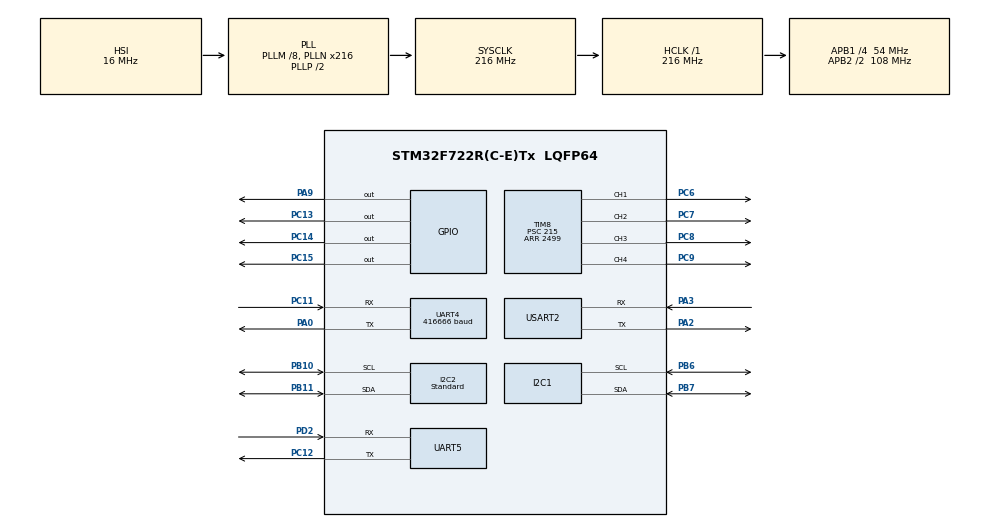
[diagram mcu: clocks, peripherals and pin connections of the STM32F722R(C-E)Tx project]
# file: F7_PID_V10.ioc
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CORTEX_M7.default_mode_Activation=1
I2C1.Timing=0x20404768
I2C2.I2C_Speed_Mode=I2C_Standard
I2C2.Timing=0x20404768
Mcu.Family=STM32F7
Mcu.Name=STM32F722R(C-E)Tx
Mcu.Package=LQFP64
NVIC.I2C2_ER_IRQn=true\:0\:0\:false\:false\:true\:true\:true\:true
NVIC.I2C2_EV_IRQn=true\:0\:0\:false\:false\:true\:true\:true\:true
NVIC.PriorityGroup=NVIC_PRIORITYGROUP_4
NVIC.TIM3_IRQn=true\:3\:0\:true\:false\:true\:true\:true\:true
NVIC.UART4_IRQn=true\:0\:0\:false\:false\:true\:true\:true\:true
NVIC.UART5_IRQn=true\:0\:0\:false\:false\:true\:true\:true\:true
NVIC.USART2_IRQn=true\:0\:0\:false\:false\:true\:true\:true\:true
PA0-WKUP.Mode=Asynchronous
PA0-WKUP.Signal=UART4_TX
PA2.Mode=Asynchronous
PA2.Signal=USART2_TX
PA3.Mode=Asynchronous
PA3.Signal=USART2_RX
PA9.Signal=GPIO_Output
PB10.Mode=I2C
PB10.Signal=I2C2_SCL
PB11.Mode=I2C
PB11.Signal=I2C2_SDA
PB6.Mode=I2C
PB6.Signal=I2C1_SCL
PB7.Mode=I2C
PB7.Signal=I2C1_SDA
PC11.Mode=Asynchronous
PC11.Signal=UART4_RX
PC12.Mode=Asynchronous
PC12.Signal=UART5_TX
PC13.Signal=GPIO_Output
PC14-OSC32_IN.Signal=GPIO_Output
PC15-OSC32_OUT.Signal=GPIO_Output
PC6.Signal=S_TIM8_CH1
PC7.Signal=S_TIM8_CH2
PC8.Signal=S_TIM8_CH3
PC9.Signal=S_TIM8_CH4
PD2.Mode=Asynchronous
PD2.Signal=UART5_RX
ProjectManager.HeapSize=0x200
ProjectManager.StackSize=0x400
ProjectManager.TargetToolchain=STM32CubeIDE
RCC.AHBFreq_Value=216000000
RCC.APB1CLKDivider=RCC_HCLK_DIV4
RCC.APB1Freq_Value=54000000
RCC.APB1TimFreq_Value=108000000
RCC.APB2CLKDivider=RCC_HCLK_DIV2
RCC.APB2Freq_Value=108000000
RCC.APB2TimFreq_Value=216000000
RCC.CortexFreq_Value=216000000
RCC.HCLKFreq_Value=216000000
RCC.HSE_VALUE=25000000
RCC.HSI_VALUE=16000000
RCC.LSE_VALUE=32768
RCC.PLLM=8
RCC.PLLN=216
RCC.SYSCLKFreq_VALUE=216000000
RCC.SYSCLKSource=RCC_SYSCLKSOURCE_PLLCLK
RCC.USBFreq_Value=216000000
RCC.VCOOutputFreq_Value=432000000
SH.S_TIM8_CH1.0=TIM8_CH1,PWM Generation1 CH1
SH.S_TIM8_CH2.0=TIM8_CH2,PWM Generation2 CH2
SH.S_TIM8_CH3.0=TIM8_CH3,PWM Generation3 CH3
SH.S_TIM8_CH4.0=TIM8_CH4,PWM Generation4 CH4
TIM3.Period=3999
TIM3.Prescaler=107
TIM8.Channel-PWM\ Generation1\ CH1=TIM_CHANNEL_1
TIM8.Channel-PWM\ Generation2\ CH2=TIM_CHANNEL_2
TIM8.Channel-PWM\ Generation3\ CH3=TIM_CHANNEL_3
TIM8.Channel-PWM\ Generation4\ CH4=TIM_CHANNEL_4
TIM8.Period=2499
TIM8.Prescaler=215
UART4.BaudRate=416666
USART2.VirtualMode-Asynchronous=VM_ASYNC
VP_TIM3_VS_ClockSourceINT.Mode=Internal
VP_TIM8_VS_ClockSourceINT.Mode=Internal
board=custom

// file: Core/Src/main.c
/* USER CODE BEGIN Header */
/**
  ******************************************************************************
  * @file           : main.c
  * @brief          : Main program body (Clean - No Printf - 250Hz Loop)
  ******************************************************************************
  */
/* USER CODE END Header */
#include "main.h"

/* USER CODE BEGIN Includes */
#include "stm32f7xx_hal.h"
#include <stdint.h>
#include <stdbool.h>
#include <stdlib.h>
#include <math.h>
#include "pwm.h"
#include "mpu.h"
#include "elrs.h"
#include "mtf.h"
#include "boussole.h"
#include "barometre.h"
#include "gps.h"
/* USER CODE END Includes */

/* USER CODE BEGIN PD */
#define PID_PITCH_KP  1.3f // 1.3
#define PID_PITCH_KI  0.025f // 0.04
#define PID_PITCH_KD  18.0f // 18

#define PID_ROLL_KP   1.3f
#define PID_ROLL_KI   0.025f
#define PID_ROLL_KD   18.0f

#define PID_YAW_KP    4.0f
#define PID_YAW_KI    0.02f
#define PID_YAW_KD    0.0f

int pid_max_roll = 400;                    //Maximum output of the PID-controller (+/-).
int pid_max_pitch = 400;                    //Maximum output of the PID-controller (+/-).
int pid_max_yaw = 400;                    //Maximum output of the PID-controller (+/-).

/* USER CODE END PD */

I2C_HandleTypeDef hi2c1;
I2C_HandleTypeDef hi2c2;

TIM_HandleTypeDef htim3;
TIM_HandleTypeDef htim8;

UART_HandleTypeDef huart4;
UART_HandleTypeDef huart5;
UART_HandleTypeDef huart2;

/* USER CODE BEGIN PV */
float pid_error_temp = 0;
float pid_i_mem_roll, pid_roll_setpoint, gyro_roll_input, pid_output_roll, pid_last_roll_d_error;
float pid_i_mem_pitch, pid_pitch_setpoint, gyro_pitch_input, pid_output_pitch, pid_last_pitch_d_error;
float pid_i_mem_yaw, pid_yaw_setpoint, gyro_yaw_input, pid_output_yaw, pid_last_yaw_d_error;

float pid_roll_setpoint = 0;
float pid_pitch_setpoint = 0;
float pid_yaw_setpoint = 0;

float roll_level_adjust = 0;
float pitch_level_adjust = 0;

uint16_t rc_throttle = 1000;
uint16_t esc_1, esc_2, esc_3, esc_4;

extern float filtered_gx;
extern float filtered_gy;
extern float filtered_gz;

extern uint8_t elrs_rx_byte;

extern int32_t acc_pitch_cal_value;
extern int32_t acc_roll_cal_value;

// PID altitude
float pid_altitude_setpoint = 0;
float pid_i_mem_altitude = 0;
float pid_last_altitude_d_error = 0;
float pid_output_altitude = 0;
float pid_error_altitude = 0;

float pid_p_gain_altitude = 0.2; // 0.2
float pid_i_gain_altitude = 0.0001; // 0.0001
float pid_d_gain_altitude = 5.0; // 5
int pid_max_altitude = 150; // Limite l'action sur les gaz

// Le point de stationnaire (Hover).
int hover_throttle;

bool alt_hold_active = false;
bool previous_alt_hold_state = false;

// Variables pour le séquenceur I2C
uint8_t sequencer_counter = 0;
uint8_t i2c_active_sensor = 0; // 1 = Boussole, 2 = Baromètre

//boussole qmc5883p
uint8_t qmc_raw_data[6];

//baro lps22hh
uint8_t baro_raw_data[5];

//gps m10
extern uint8_t gps_rx_byte;

// --- Variables PID GPS ---
float gps_p_gain = 1.0f; //2.7
float gps_d_gain = 5.0f; //6.5

int32_t l_lat_waypoint = 0;
int32_t l_lon_waypoint = 0;

int32_t gps_lat_error = 0;
int32_t gps_lon_error = 0;
int32_t gps_lat_error_previous = 0;
int32_t gps_lon_error_previous = 0;

float gps_pitch_adjust_north = 0.0f;
float gps_roll_adjust_north = 0.0f;
float gps_pitch_adjust = 0.0f;
float gps_roll_adjust = 0.0f;

bool gps_hold_active = false;
bool previous_gps_hold_state = false;

// isen : 50.634096, 3.048933
// palais rameau 50.634472, 3.049654
// 10m nord : 50.63497640045477, 3.0488501656479223
int32_t target_lat = 506342430;
int32_t target_lon = 30491792;

/* USER CODE END PV */

void SystemClock_Config(void);
static void MPU_Config(void);
static void MX_GPIO_Init(void);
static void MX_TIM3_Init(void);
static void MX_I2C1_Init(void);
static void MX_TIM8_Init(void);
static void MX_UART4_Init(void);
static void MX_UART5_Init(void);
static void MX_I2C2_Init(void);
static void MX_USART2_UART_Init(void);
/* USER CODE BEGIN PFP */
void Calculate_PID();
void Apply_Motor_Speed(uint16_t throttle);
/* USER CODE END PFP */

/* USER CODE BEGIN 0 */

void Calculate_PID() {
	pid_roll_setpoint = 0;

	if (rc_channels[3] > 1508)pid_roll_setpoint = rc_channels[3] - 1508;
	else if (rc_channels[3] < 1492)pid_roll_setpoint = rc_channels[3] - 1492;

	// Le GPS incline le drone en roll
	pid_roll_setpoint += gps_roll_adjust;

	pid_roll_setpoint -= roll_level_adjust;                                          //Subtract the angle correction from the standardized receiver roll input value.
	pid_roll_setpoint /= 3.0;                                                        //Divide the setpoint for the PID roll controller by 3 to get angles in degrees.

	pid_pitch_setpoint = 0;
	if (rc_channels[1] > 1508)pid_pitch_setpoint = rc_channels[1] - 1508;
	else if (rc_channels[1] < 1492)pid_pitch_setpoint = rc_channels[1] - 1492;

	//Le GPS incline le drone en pitch
	pid_pitch_setpoint -= gps_pitch_adjust;

	pid_pitch_setpoint -= pitch_level_adjust;                                        //Subtract the angle correction from the standardized receiver pitch input value.
	pid_pitch_setpoint /= 3.0;                                                       //Divide the setpoint for the PID pitch controller by 3 to get angles in degrees.

	pid_yaw_setpoint = 0;
	//We need a little dead band of 16us for better results.
	if (rc_channels[2] > 1050) { //Do not yaw when turning off the motors.
	if (rc_channels[0] > 1508)pid_yaw_setpoint = (rc_channels[0] - 1508) / 3.0;
	else if (rc_channels[0] < 1492)pid_yaw_setpoint = (rc_channels[0] - 1492) / 3.0;
	}

	//Roll calculations
	pid_error_temp = filtered_gx - pid_roll_setpoint;
	pid_i_mem_roll += PID_ROLL_KI * pid_error_temp;
	if (pid_i_mem_roll > pid_max_roll)pid_i_mem_roll = pid_max_roll;
	else if (pid_i_mem_roll < pid_max_roll * -1)pid_i_mem_roll = pid_max_roll * -1;

	pid_output_roll = PID_ROLL_KP * pid_error_temp + pid_i_mem_roll + PID_ROLL_KD * (pid_error_temp - pid_last_roll_d_error);
	if (pid_output_roll > pid_max_roll)pid_output_roll = pid_max_roll;
	else if (pid_output_roll < pid_max_roll * -1)pid_output_roll = pid_max_roll * -1;

	pid_last_roll_d_error = pid_error_temp;

	//Pitch calculations
	pid_error_temp = filtered_gy - pid_pitch_setpoint;
	pid_i_mem_pitch += PID_PITCH_KI * pid_error_temp;
	if (pid_i_mem_pitch > pid_max_pitch)pid_i_mem_pitch = pid_max_pitch;
	else if (pid_i_mem_pitch < pid_max_pitch * -1)pid_i_mem_pitch = pid_max_pitch * -1;

	pid_output_pitch = PID_PITCH_KP * pid_error_temp + pid_i_mem_pitch + PID_PITCH_KD * (pid_error_temp - pid_last_pitch_d_error);
	if (pid_output_pitch > pid_max_pitch)pid_output_pitch = pid_max_pitch;
	else if (pid_output_pitch < pid_max_pitch * -1)pid_output_pitch = pid_max_pitch * -1;

	pid_last_pitch_d_error = pid_error_temp;

	//Yaw calculations
	pid_error_temp = filtered_gz - pid_yaw_setpoint;
	pid_i_mem_yaw += PID_YAW_KI * pid_error_temp;
	if (pid_i_mem_yaw > pid_max_yaw)pid_i_mem_yaw = pid_max_yaw;
	else if (pid_i_mem_yaw < pid_max_yaw * -1)pid_i_mem_yaw = pid_max_yaw * -1;

	pid_output_yaw = PID_YAW_KP * pid_error_temp + pid_i_mem_yaw + PID_YAW_KD * (pid_error_temp - pid_last_yaw_d_error);
	if (pid_output_yaw > pid_max_yaw)pid_output_yaw = pid_max_yaw;
	else if (pid_output_yaw < pid_max_yaw * -1)pid_output_yaw = pid_max_yaw * -1;

	pid_last_yaw_d_error = pid_error_temp;

}

void Apply_Motor_Speed(uint16_t throttle) {

	esc_1 = throttle - pid_output_pitch - pid_output_roll + pid_output_yaw;
	esc_2 = throttle - pid_output_pitch + pid_output_roll - pid_output_yaw;
	esc_3 = throttle + pid_output_pitch + pid_output_roll + pid_output_yaw;
	esc_4 = throttle + pid_output_pitch - pid_output_roll - pid_output_yaw;

    if (esc_1 < 1000) esc_1 = 1000;
    if (esc_1 > 2000) esc_1 = 2000;

    if (esc_2 < 1000) esc_2 = 1000;
    if (esc_2 > 2000) esc_2 = 2000;

    if (esc_3 < 1000) esc_3 = 1000;
    if (esc_3 > 2000) esc_3 = 2000;

    if (esc_4 < 1000) esc_4 = 1000;
    if (esc_4 > 2000) esc_4 = 2000;

    ESC_Write(esc_1, esc_2, esc_3, esc_4);
}

/* USER CODE END 0 */

int main(void)
{

  /* MPU Configuration--------------------------------------------------------*/
  MPU_Config();

  /* MCU Configuration--------------------------------------------------------*/

  /* Reset of all peripherals, Initializes the Flash interface and the Systick. */
  HAL_Init();

  /* Configure the system clock */
  SystemClock_Config();

  /* Initialize all configured peripherals */
  MX_GPIO_Init();
  MX_TIM3_Init();
  MX_I2C1_Init();
  MX_TIM8_Init();
  MX_UART4_Init();
  MX_UART5_Init();
  MX_I2C2_Init();
  MX_USART2_UART_Init();
  /* USER CODE BEGIN 2 */
  HAL_Delay(200);
  MPU_Init();
  HAL_Delay(200);
  Gyro_Calibrate();
  Acc_Calibrate();
  HAL_Delay(200);
  MTF_Init();
  Compass_Init();
  Baro_Init();
  GPS_Init();

  // Le drone dérive vers l'Arrière-Droit.
  // On diminue les valeurs de calibration pour générer une fausse
  // inclinaison positive, forçant le drone à compenser vers l'Avant-Gauche.

  acc_pitch_cal_value -= 15; // Compense la dérive arrière
  acc_roll_cal_value  -= 25; // Compense la dérive droite

  HAL_TIM_Base_Start_IT(&htim3);
  ELRS_Init();
  HAL_Delay(2000);
  ESC_Init_And_Calibrate(); ////////////////

  HAL_GPIO_WritePin(GPIOC, GPIO_PIN_14, GPIO_PIN_SET);

  /* USER CODE END 2 */

  /* Infinite loop */
  while (1)
  {

  }
}

void SystemClock_Config(void)
{
  RCC_OscInitTypeDef RCC_OscInitStruct = {0};
  RCC_ClkInitTypeDef RCC_ClkInitStruct = {0};

  /** Configure the main internal regulator output voltage
  */
  __HAL_RCC_PWR_CLK_ENABLE();
  __HAL_PWR_VOLTAGESCALING_CONFIG(PWR_REGULATOR_VOLTAGE_SCALE1);

  /** Initializes the RCC Oscillators according to the specified parameters
  * in the RCC_OscInitTypeDef structure.
  */
  RCC_OscInitStruct.OscillatorType = RCC_OSCILLATORTYPE_HSI;
  RCC_OscInitStruct.HSIState = RCC_HSI_ON;
  RCC_OscInitStruct.HSICalibrationValue = RCC_HSICALIBRATION_DEFAULT;
  RCC_OscInitStruct.PLL.PLLState = RCC_PLL_ON;
  RCC_OscInitStruct.PLL.PLLSource = RCC_PLLSOURCE_HSI;
  RCC_OscInitStruct.PLL.PLLM = 8;
  RCC_OscInitStruct.PLL.PLLN = 216;
  RCC_OscInitStruct.PLL.PLLP = RCC_PLLP_DIV2;
  RCC_OscInitStruct.PLL.PLLQ = 2;
  if (HAL_RCC_OscConfig(&RCC_OscInitStruct) != HAL_OK)
  {
    Error_Handler();
  }

  /** Activate the Over-Drive mode
  */
  if (HAL_PWREx_EnableOverDrive() != HAL_OK)
  {
    Error_Handler();
  }

  /** Initializes the CPU, AHB and APB buses clocks
  */
  RCC_ClkInitStruct.ClockType = RCC_CLOCKTYPE_HCLK|RCC_CLOCKTYPE_SYSCLK
                              |RCC_CLOCKTYPE_PCLK1|RCC_CLOCKTYPE_PCLK2;
  RCC_ClkInitStruct.SYSCLKSource = RCC_SYSCLKSOURCE_PLLCLK;
  RCC_ClkInitStruct.AHBCLKDivider = RCC_SYSCLK_DIV1;
  RCC_ClkInitStruct.APB1CLKDivider = RCC_HCLK_DIV4;
  RCC_ClkInitStruct.APB2CLKDivider = RCC_HCLK_DIV2;

  if (HAL_RCC_ClockConfig(&RCC_ClkInitStruct, FLASH_LATENCY_7) != HAL_OK)
  {
    Error_Handler();
  }
}

static void MX_I2C1_Init(void)
{

  hi2c1.Instance = I2C1;
  hi2c1.Init.Timing = 0x20404768;
  hi2c1.Init.OwnAddress1 = 0;
  hi2c1.Init.AddressingMode = I2C_ADDRESSINGMODE_7BIT;
  hi2c1.Init.DualAddressMode = I2C_DUALADDRESS_DISABLE;
  hi2c1.Init.OwnAddress2 = 0;
  hi2c1.Init.OwnAddress2Masks = I2C_OA2_NOMASK;
  hi2c1.Init.GeneralCallMode = I2C_GENERALCALL_DISABLE;
  hi2c1.Init.NoStretchMode = I2C_NOSTRETCH_DISABLE;
  if (HAL_I2C_Init(&hi2c1) != HAL_OK)
  {
    Error_Handler();
  }

  /** Configure Analogue filter
  */
  if (HAL_I2CEx_ConfigAnalogFilter(&hi2c1, I2C_ANALOGFILTER_ENABLE) != HAL_OK)
  {
    Error_Handler();
  }

  /** Configure Digital filter
  */
  if (HAL_I2CEx_ConfigDigitalFilter(&hi2c1, 0) != HAL_OK)
  {
    Error_Handler();
  }

}

static void MX_I2C2_Init(void)
{

  hi2c2.Instance = I2C2;
  hi2c2.Init.Timing = 0x20404768;
  hi2c2.Init.OwnAddress1 = 0;
  hi2c2.Init.AddressingMode = I2C_ADDRESSINGMODE_7BIT;
  hi2c2.Init.DualAddressMode = I2C_DUALADDRESS_DISABLE;
  hi2c2.Init.OwnAddress2 = 0;
  hi2c2.Init.OwnAddress2Masks = I2C_OA2_NOMASK;
  hi2c2.Init.GeneralCallMode = I2C_GENERALCALL_DISABLE;
  hi2c2.Init.NoStretchMode = I2C_NOSTRETCH_DISABLE;
  if (HAL_I2C_Init(&hi2c2) != HAL_OK)
  {
    Error_Handler();
  }

  /** Configure Analogue filter
  */
  if (HAL_I2CEx_ConfigAnalogFilter(&hi2c2, I2C_ANALOGFILTER_ENABLE) != HAL_OK)
  {
    Error_Handler();
  }

  /** Configure Digital filter
  */
  if (HAL_I2CEx_ConfigDigitalFilter(&hi2c2, 0) != HAL_OK)
  {
    Error_Handler();
  }

}

static void MX_TIM3_Init(void)
{

  TIM_ClockConfigTypeDef sClockSourceConfig = {0};
  TIM_MasterConfigTypeDef sMasterConfig = {0};

  htim3.Instance = TIM3;
  htim3.Init.Prescaler = 107;
  htim3.Init.CounterMode = TIM_COUNTERMODE_UP;
  htim3.Init.Period = 3999;
  htim3.Init.ClockDivision = TIM_CLOCKDIVISION_DIV1;
  htim3.Init.AutoReloadPreload = TIM_AUTORELOAD_PRELOAD_DISABLE;
  if (HAL_TIM_Base_Init(&htim3) != HAL_OK)
  {
    Error_Handler();
  }
  sClockSourceConfig.ClockSource = TIM_CLOCKSOURCE_INTERNAL;
  if (HAL_TIM_ConfigClockSource(&htim3, &sClockSourceConfig) != HAL_OK)
  {
    Error_Handler();
  }
  sMasterConfig.MasterOutputTrigger = TIM_TRGO_RESET;
  sMasterConfig.MasterSlaveMode = TIM_MASTERSLAVEMODE_DISABLE;
  if (HAL_TIMEx_MasterConfigSynchronization(&htim3, &sMasterConfig) != HAL_OK)
  {
    Error_Handler();
  }

}

static void MX_TIM8_Init(void)
{

  TIM_ClockConfigTypeDef sClockSourceConfig = {0};
  TIM_MasterConfigTypeDef sMasterConfig = {0};
  TIM_OC_InitTypeDef sConfigOC = {0};
  TIM_BreakDeadTimeConfigTypeDef sBreakDeadTimeConfig = {0};

  htim8.Instance = TIM8;
  htim8.Init.Prescaler = 215;
  htim8.Init.CounterMode = TIM_COUNTERMODE_UP;
  htim8.Init.Period = 2499;
  htim8.Init.ClockDivision = TIM_CLOCKDIVISION_DIV1;
  htim8.Init.RepetitionCounter = 0;
  htim8.Init.AutoReloadPreload = TIM_AUTORELOAD_PRELOAD_DISABLE;
  if (HAL_TIM_Base_Init(&htim8) != HAL_OK)
  {
    Error_Handler();
  }
  sClockSourceConfig.ClockSource = TIM_CLOCKSOURCE_INTERNAL;
  if (HAL_TIM_ConfigClockSource(&htim8, &sClockSourceConfig) != HAL_OK)
  {
    Error_Handler();
  }
  if (HAL_TIM_PWM_Init(&htim8) != HAL_OK)
  {
    Error_Handler();
  }
  sMasterConfig.MasterOutputTrigger = TIM_TRGO_RESET;
  sMasterConfig.MasterOutputTrigger2 = TIM_TRGO2_RESET;
  sMasterConfig.MasterSlaveMode = TIM_MASTERSLAVEMODE_DISABLE;
  if (HAL_TIMEx_MasterConfigSynchronization(&htim8, &sMasterConfig) != HAL_OK)
  {
    Error_Handler();
  }
  sConfigOC.OCMode = TIM_OCMODE_PWM1;
  sConfigOC.Pulse = 0;
  sConfigOC.OCPolarity = TIM_OCPOLARITY_HIGH;
  sConfigOC.OCNPolarity = TIM_OCNPOLARITY_HIGH;
  sConfigOC.OCFastMode = TIM_OCFAST_DISABLE;
  sConfigOC.OCIdleState = TIM_OCIDLESTATE_RESET;
  sConfigOC.OCNIdleState = TIM_OCNIDLESTATE_RESET;
  if (HAL_TIM_PWM_ConfigChannel(&htim8, &sConfigOC, TIM_CHANNEL_1) != HAL_OK)
  {
    Error_Handler();
  }
  if (HAL_TIM_PWM_ConfigChannel(&htim8, &sConfigOC, TIM_CHANNEL_2) != HAL_OK)
  {
    Error_Handler();
  }
  if (HAL_TIM_PWM_ConfigChannel(&htim8, &sConfigOC, TIM_CHANNEL_3) != HAL_OK)
  {
    Error_Handler();
  }
  if (HAL_TIM_PWM_ConfigChannel(&htim8, &sConfigOC, TIM_CHANNEL_4) != HAL_OK)
  {
    Error_Handler();
  }
  sBreakDeadTimeConfig.OffStateRunMode = TIM_OSSR_DISABLE;
  sBreakDeadTimeConfig.OffStateIDLEMode = TIM_OSSI_DISABLE;
  sBreakDeadTimeConfig.LockLevel = TIM_LOCKLEVEL_OFF;
  sBreakDeadTimeConfig.DeadTime = 0;
  sBreakDeadTimeConfig.BreakState = TIM_BREAK_DISABLE;
  sBreakDeadTimeConfig.BreakPolarity = TIM_BREAKPOLARITY_HIGH;
  sBreakDeadTimeConfig.BreakFilter = 0;
  sBreakDeadTimeConfig.Break2State = TIM_BREAK2_DISABLE;
  sBreakDeadTimeConfig.Break2Polarity = TIM_BREAK2POLARITY_HIGH;
  sBreakDeadTimeConfig.Break2Filter = 0;
  sBreakDeadTimeConfig.AutomaticOutput = TIM_AUTOMATICOUTPUT_DISABLE;
  if (HAL_TIMEx_ConfigBreakDeadTime(&htim8, &sBreakDeadTimeConfig) != HAL_OK)
  {
    Error_Handler();
  }
  HAL_TIM_MspPostInit(&htim8);

}

static void MX_UART4_Init(void)
{

  huart4.Instance = UART4;
  huart4.Init.BaudRate = 416666;
  huart4.Init.WordLength = UART_WORDLENGTH_8B;
  huart4.Init.StopBits = UART_STOPBITS_1;
  huart4.Init.Parity = UART_PARITY_NONE;
  huart4.Init.Mode = UART_MODE_TX_RX;
  huart4.Init.HwFlowCtl = UART_HWCONTROL_NONE;
  huart4.Init.OverSampling = UART_OVERSAMPLING_16;
  huart4.Init.OneBitSampling = UART_ONE_BIT_SAMPLE_DISABLE;
  huart4.AdvancedInit.AdvFeatureInit = UART_ADVFEATURE_NO_INIT;
  if (HAL_UART_Init(&huart4) != HAL_OK)
  {
    Error_Handler();
  }

}

static void MX_UART5_Init(void)
{

  huart5.Instance = UART5;
  huart5.Init.BaudRate = 115200;
  huart5.Init.WordLength = UART_WORDLENGTH_8B;
  huart5.Init.StopBits = UART_STOPBITS_1;
  huart5.Init.Parity = UART_PARITY_NONE;
  huart5.Init.Mode = UART_MODE_TX_RX;
  huart5.Init.HwFlowCtl = UART_HWCONTROL_NONE;
  huart5.Init.OverSampling = UART_OVERSAMPLING_16;
  huart5.Init.OneBitSampling = UART_ONE_BIT_SAMPLE_DISABLE;
  huart5.AdvancedInit.AdvFeatureInit = UART_ADVFEATURE_NO_INIT;
  if (HAL_UART_Init(&huart5) != HAL_OK)
  {
    Error_Handler();
  }

}

static void MX_USART2_UART_Init(void)
{

  huart2.Instance = USART2;
  huart2.Init.BaudRate = 115200;
  huart2.Init.WordLength = UART_WORDLENGTH_8B;
  huart2.Init.StopBits = UART_STOPBITS_1;
  huart2.Init.Parity = UART_PARITY_NONE;
  huart2.Init.Mode = UART_MODE_TX_RX;
  huart2.Init.HwFlowCtl = UART_HWCONTROL_NONE;
  huart2.Init.OverSampling = UART_OVERSAMPLING_16;
  huart2.Init.OneBitSampling = UART_ONE_BIT_SAMPLE_DISABLE;
  huart2.AdvancedInit.AdvFeatureInit = UART_ADVFEATURE_NO_INIT;
  if (HAL_UART_Init(&huart2) != HAL_OK)
  {
    Error_Handler();
  }

}

static void MX_GPIO_Init(void)
{
  GPIO_InitTypeDef GPIO_InitStruct = {0};

  /* GPIO Ports Clock Enable */
  __HAL_RCC_GPIOC_CLK_ENABLE();
  __HAL_RCC_GPIOA_CLK_ENABLE();
  __HAL_RCC_GPIOB_CLK_ENABLE();
  __HAL_RCC_GPIOD_CLK_ENABLE();

  /*Configure GPIO pin Output Level */
  HAL_GPIO_WritePin(GPIOC, GPIO_PIN_13|GPIO_PIN_14|GPIO_PIN_15, GPIO_PIN_RESET);

  /*Configure GPIO pin Output Level */
  HAL_GPIO_WritePin(GPIOA, GPIO_PIN_9, GPIO_PIN_RESET);

  /*Configure GPIO pins : PC13 PC14 PC15 */
  GPIO_InitStruct.Pin = GPIO_PIN_13|GPIO_PIN_14|GPIO_PIN_15;
  GPIO_InitStruct.Mode = GPIO_MODE_OUTPUT_PP;
  GPIO_InitStruct.Pull = GPIO_NOPULL;
  GPIO_InitStruct.Speed = GPIO_SPEED_FREQ_LOW;
  HAL_GPIO_Init(GPIOC, &GPIO_InitStruct);

  /*Configure GPIO pin : PA9 */
  GPIO_InitStruct.Pin = GPIO_PIN_9;
  GPIO_InitStruct.Mode = GPIO_MODE_OUTPUT_PP;
  GPIO_InitStruct.Pull = GPIO_NOPULL;
  GPIO_InitStruct.Speed = GPIO_SPEED_FREQ_LOW;
  HAL_GPIO_Init(GPIOA, &GPIO_InitStruct);

}

/* USER CODE BEGIN 4 */

void HAL_TIM_PeriodElapsedCallback(TIM_HandleTypeDef *htim) {
    if (htim->Instance == TIM3) {

        // 1. Gestion Failsafe et Armement
        ELRS_Update_Failsafe();

        if (!failsafe_active && rc_channels[4] > 1700) {
            is_armed = true;
            HAL_GPIO_WritePin(GPIOC, GPIO_PIN_13, GPIO_PIN_SET);
        } else {
            is_armed = false;
            ESC_Write(1000,1000,1000,1000);
            HAL_GPIO_WritePin(GPIOC, GPIO_PIN_13, GPIO_PIN_RESET);
        }

        // ---   I2C ---
		sequencer_counter++;
		if (sequencer_counter >= 5) {
			sequencer_counter = 0;
		}
		// Créneau de la Boussole (T = 4 ms)
		if (sequencer_counter == 1 && qmc_found) {
			i2c_active_sensor = 1; // <-- ON NOTE QUE LA BOUSSOLE PARLE
			HAL_I2C_Mem_Read_IT(&hi2c2, QMC5883P_ADDR, QMC_P_DATA_X_LSB, 1, qmc_raw_data, 6);
		}

		// Créneau du Baromètre (T = 12 ms)
		else if (sequencer_counter == 3 && baro_found) {
			i2c_active_sensor = 2; // <-- ON NOTE QUE LE BAROMÈTRE PARLE
			HAL_I2C_Mem_Read_IT(&hi2c2, LPS22HH_I2C_ADDR, LPS22HH_PRESS_OUT_XL, 1, baro_raw_data, 5);
		}

		// Interpolation douce du GPS (Lissage 5Hz -> 250Hz)
		GPS_Interpolate();

        // 2. Lecture MPU
        MPU_Read_Sensor();
        MPU_Calculate_Angles();

        //is_armed=true; ////////////////////

        // 3. Calculs PID
		if (is_armed) {

			rc_throttle = rc_channels[2];

			/*
			rc_channels[2]=1150; /////////////////////
			rc_channels[5]=2000; /////////////////////
			*/

			alt_hold_active = (sensor_distance_status == 1 && rc_channels[5] > 1700 && rc_channels[2] > 1100); /////1000

			// Détection activation alt_hold
			if (alt_hold_active && !previous_alt_hold_state) {
				hover_throttle = rc_channels[2];
				pid_altitude_setpoint = (float)sensor_distance_mm;
				pid_i_mem_altitude = 0;
				pid_last_altitude_d_error = 0;
			}

			// Gestion altitude hold
	        if (alt_hold_active) {

	        	// 1. GESTION DE LA CONSIGNE PAR LE PILOTE (Logique Brokking)
	        	// 1450

				if (rc_throttle > 1600) {
					// Le pilote veut monter : on augmente la consigne d'altitude
					pid_altitude_setpoint += (rc_throttle - 1600) * 0.02f;
				}
				else if (rc_throttle < 1300) {
					// Le pilote veut descendre : on baisse la consigne
					pid_altitude_setpoint -= (1300 - rc_throttle) * 0.02f;
				}

				// Sécurité : On empêche de demander une altitude sous 10cm ou au-dessus de 2m
				if (pid_altitude_setpoint < 200) pid_altitude_setpoint = 200;
				if (pid_altitude_setpoint > 3000) pid_altitude_setpoint = 3000;

				// 2. CALCUL DU PID D'ALTITUDE
				// Erreur en millimètres = Consigne - Réalité
				pid_error_altitude = pid_altitude_setpoint - (float)sensor_distance_mm;

				pid_i_mem_altitude += (pid_i_gain_altitude * pid_error_altitude);
				if (pid_i_mem_altitude > pid_max_altitude) pid_i_mem_altitude = pid_max_altitude;
				else if (pid_i_mem_altitude < pid_max_altitude * -1) pid_i_mem_altitude = pid_max_altitude * -1;

				float derivative_alt = pid_error_altitude - pid_last_altitude_d_error;

				pid_output_altitude = (pid_p_gain_altitude * pid_error_altitude) + pid_i_mem_altitude + (pid_d_gain_altitude * derivative_alt);

				// Limitation de la sortie pour ne pas envoyer les moteurs dans l'espace
				if (pid_output_altitude > pid_max_altitude) pid_output_altitude = pid_max_altitude;
				else if (pid_output_altitude < pid_max_altitude * -1) pid_output_altitude = pid_max_altitude * -1;

				pid_last_altitude_d_error = pid_error_altitude;

				// 3. APPLICATION AUX GAZ
				// Au lieu de prendre le rc_throttle pur, on prend le point de stationnaire + le PID
				rc_throttle = hover_throttle + (int16_t)pid_output_altitude;

	        } else {
	            // LE MAINTIEN D'ALTITUDE EST DÉSACTIVÉ (Ou le capteur ne voit plus le sol)
	            // On réinitialise les variables pour que le système soit prêt pour la prochaine activation
	            pid_altitude_setpoint = (float)sensor_distance_mm; // La consigne devient l'altitude actuelle
	            pid_i_mem_altitude = 0;
	            pid_last_altitude_d_error = 0;
	            pid_output_altitude = 0;
	        }

	        // ========================================================
			// MAINTIEN DE POSITION GPS (POSITION HOLD)
			// ========================================================

			// On active si l'interrupteur est ON (ex: canal 7) ET si le GPS a un bon signal (Fix 3D et + de 7 sats)
			gps_hold_active = (rc_channels[6] > 1700 && fix_type == 3 && number_used_sats >= 3);

			if (gps_hold_active && !previous_gps_hold_state) {
			    // Au lieu de l_lat_waypoint = l_lat_gps, on force la cible
			    l_lat_waypoint = target_lat;
			    l_lon_waypoint = target_lon;

			    // Verrouillage de l'altitude à 2000mm (2 mètres)
			    pid_altitude_setpoint = 2000.0f;

			    gps_lat_error_previous = 0;
			    gps_lon_error_previous = 0;
			}

			if (gps_hold_active) {

				// 1. Calcul de l'erreur géographique (Cible - Actuelle)
				gps_lat_error = l_lat_waypoint - l_lat_gps;
				gps_lon_error = l_lon_waypoint - l_lon_gps;

				// Calcul de la dérivée (vitesse de dérive)
				int32_t gps_lat_derivative = gps_lat_error - gps_lat_error_previous;
				int32_t gps_lon_derivative = gps_lon_error - gps_lon_error_previous;

				gps_lat_error_previous = gps_lat_error;
				gps_lon_error_previous = gps_lon_error;

				// 2. Calcul de la force de correction globale (Nord/Est) avec un PD Controller
				gps_pitch_adjust_north = ((float)gps_lat_error * gps_p_gain) + ((float)gps_lat_derivative * gps_d_gain);
				gps_roll_adjust_north  = ((float)gps_lon_error * gps_p_gain) + ((float)gps_lon_derivative * gps_d_gain);

				// 3. LA MATRICE DE ROTATION (Conversion Global -> Local)
				// On convertit le cap de la boussole en radians
				float heading_rad = actual_compass_heading * (M_PI / 180.0f);

				// On fait tourner les vecteurs
				gps_pitch_adjust = (gps_pitch_adjust_north * cosf(heading_rad)) + (gps_roll_adjust_north * sinf(heading_rad));
				gps_roll_adjust  = (gps_roll_adjust_north * cosf(heading_rad))  - (gps_pitch_adjust_north * sinf(heading_rad));

				// 4. Limites de sécurité
				// 300 correspond à environ 10 degrés d'inclinaison selon vos réglages PID
				if (gps_pitch_adjust > 150.0f) gps_pitch_adjust = 150.0f;
				if (gps_pitch_adjust < -150.0f) gps_pitch_adjust = -150.0f;
				if (gps_roll_adjust > 150.0f) gps_roll_adjust = 150.0f;
				if (gps_roll_adjust < -150.0f) gps_roll_adjust = -150.0f;

			} else {
				// Si le GPS Hold est désactivé, on coupe les corrections
				gps_pitch_adjust = 0.0f;
				gps_roll_adjust = 0.0f;
			}

			previous_gps_hold_state = gps_hold_active;
	        previous_alt_hold_state = alt_hold_active;

			Calculate_PID();

			Apply_Motor_Speed(rc_throttle);

		} else {
			// Drone désarmé
			rc_throttle = 1000;
			pid_i_mem_pitch = 0;
			pid_i_mem_roll = 0;
			pid_i_mem_yaw = 0;
			pid_last_pitch_d_error = 0;
			pid_last_roll_d_error = 0;
			pid_last_yaw_d_error = 0;

			ESC_Write(1000,1000,1000,1000);
		}

		// -------------------------------------------------------------
		// SÉCURITÉ AU SOL (Anti-Windup)
		// Si les gaz sont au minimum (le drone est posé), on force
		// la mémoire de l'intégrale à zéro pour l'empêcher de s'emballer.
		// -------------------------------------------------------------
		if (rc_throttle < 1100) {
			pid_i_mem_roll = 0;
			pid_i_mem_pitch = 0;
			pid_i_mem_yaw = 0;
		}
    }
}

void HAL_UART_RxCpltCallback(UART_HandleTypeDef *huart) {
	//manette
    if (huart->Instance == UART4) {
        ELRS_Process_Byte(elrs_rx_byte);
        HAL_UART_Receive_IT(&huart4, &elrs_rx_byte, 1);
    }
    //mtf-02p
    else if(huart->Instance == UART5) {
		MTF_Process_Byte(mtf_rx_byte);
		HAL_UART_Receive_IT(&huart5, &mtf_rx_byte, 1);
	}
    //gps
    else if(huart->Instance == USART2) {
		GPS_Process_Byte(gps_rx_byte);
		HAL_UART_Receive_IT(&huart2, &gps_rx_byte, 1);
	}
}

void HAL_UART_ErrorCallback(UART_HandleTypeDef *huart) {
    if (huart->Instance == UART4) {
        __HAL_UART_CLEAR_OREFLAG(huart);
        __HAL_UART_CLEAR_NEFLAG(huart);
        __HAL_UART_CLEAR_FEFLAG(huart);
        HAL_UART_Receive_IT(&huart4, &elrs_rx_byte, 1);
    }
    else if (huart->Instance == UART5) {
		__HAL_UART_CLEAR_OREFLAG(huart);
		__HAL_UART_CLEAR_NEFLAG(huart);
		__HAL_UART_CLEAR_FEFLAG(huart);
		HAL_UART_Receive_IT(&huart5, &mtf_rx_byte, 1);
	}
    else if (huart->Instance == USART2) {
		__HAL_UART_CLEAR_OREFLAG(huart);
		__HAL_UART_CLEAR_NEFLAG(huart);
		__HAL_UART_CLEAR_FEFLAG(huart);
		HAL_UART_Receive_IT(&huart2, &gps_rx_byte, 1);
	}
}

void HAL_I2C_MemRxCpltCallback(I2C_HandleTypeDef *hi2c) {
    if (hi2c->Instance == I2C2) {

        if (i2c_active_sensor == 1) {
            Compass_Process_IT(qmc_raw_data);
        }
        else if (i2c_active_sensor == 2) {
            Baro_Process_IT(baro_raw_data);
        }

        // On remet à zéro pour éviter les faux déclenchements
        i2c_active_sensor = 0;
    }
}
/* USER CODE END 4 */

 /* MPU Configuration */

void MPU_Config(void)
{
  MPU_Region_InitTypeDef MPU_InitStruct = {0};

  /* Disables the MPU */
  HAL_MPU_Disable();

  /** Initializes and configures the Region and the memory to be protected
  */
  MPU_InitStruct.Enable = MPU_REGION_ENABLE;
  MPU_InitStruct.Number = MPU_REGION_NUMBER0;
  MPU_InitStruct.BaseAddress = 0x0;
  MPU_InitStruct.Size = MPU_REGION_SIZE_4GB;
  MPU_InitStruct.SubRegionDisable = 0x87;
  MPU_InitStruct.TypeExtField = MPU_TEX_LEVEL0;
  MPU_InitStruct.AccessPermission = MPU_REGION_NO_ACCESS;
  MPU_InitStruct.DisableExec = MPU_INSTRUCTION_ACCESS_DISABLE;
  MPU_InitStruct.IsShareable = MPU_ACCESS_SHAREABLE;
  MPU_InitStruct.IsCacheable = MPU_ACCESS_NOT_CACHEABLE;
  MPU_InitStruct.IsBufferable = MPU_ACCESS_NOT_BUFFERABLE;

  HAL_MPU_ConfigRegion(&MPU_InitStruct);
  /* Enables the MPU */
  HAL_MPU_Enable(MPU_PRIVILEGED_DEFAULT);

}

void Error_Handler(void)
{
  __disable_irq();
  while (1)
  {
  }
}
